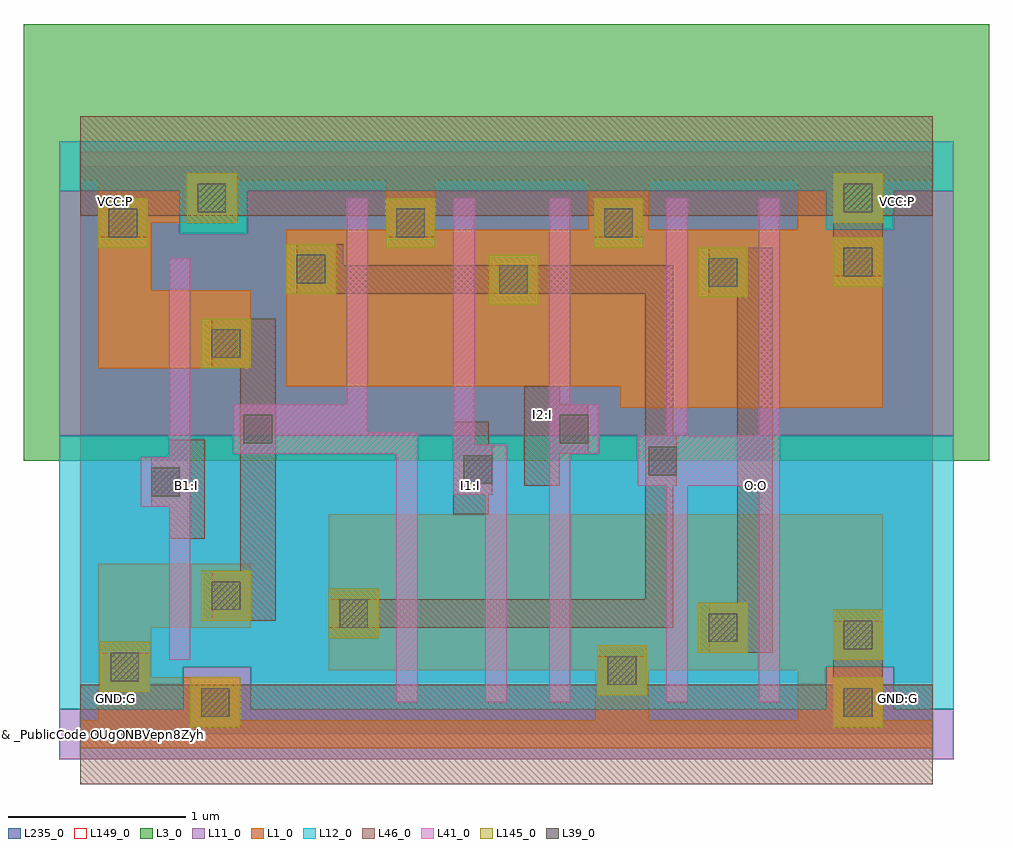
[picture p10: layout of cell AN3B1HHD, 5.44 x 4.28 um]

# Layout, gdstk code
from math import pi, radians
import gdstk
lib = gdstk.Library(unit=1e-6, precision=1e-09)
def R(c, l, rs):  # rectangles x0, y0, x1, y1
    for r in rs: c.add(gdstk.rectangle(r[:2], r[2:], *l))
def P(c, l, *ps):  # polygons
    for p in ps: c.add(gdstk.Polygon(p, *l))
L1_0 = (1, 0)
L3_0 = (3, 0)
L11_0 = (11, 0)
L12_0 = (12, 0)
L39_0 = (39, 0)
L41_0 = (41, 0)
L46_0 = (46, 0)
L145_0 = (145, 0)
L149_0 = (149, 0)
L235_0 = (235, 0)

c_pc = lib.new_cell('PC')
R(c_pc, L39_0, [(-0.08,-0.08,0.08,0.08)])
R(c_pc, L41_0, [(-0.14,-0.14,0.14,0.14)])
R(c_pc, L46_0, [(-0.08,-0.14,0.08,0.14)])

c_mc = lib.new_cell('MC')
R(c_mc, L39_0, [(-0.08,-0.08,0.08,0.08)])
R(c_mc, L46_0, [(-0.08,-0.14,0.08,0.14)])
R(c_mc, L145_0, [(-0.14,-0.14,0.14,0.14)])

jhlenmmjmgj__41gum4xw0 = lib.new_cell('JHLENMMJMGJ$$41Gum4XW0')
R(jhlenmmjmgj__41gum4xw0, L1_0, [(0,-0.08,4.8,0.08), (0.4,0.08,0.9,0.32), (1.4,0.36,2.9,1.24), (1.16,1.96,1.72,2.84), (0.4,2.88,0.88,3.12), (0,3.12,4.8,3.28)])
P(jhlenmmjmgj__41gum4xw0, L1_0, [(0.96,0.96),(0.1,0.96),(0.1,0.08),(0.4,0.08),(0.4,0.6),(0.96,0.6)],
  [(0.4,3.12),(0.1,3.12),(0.1,2.06),(0.96,2.06),(0.96,2.5),(0.4,2.5)],
  [(4.52,3.12),(4.04,3.12),(4.04,2.84),(3.2,2.84),(3.2,3.12),(2.86,3.12),(2.86,2.84),(2,2.84),(2,3.12),(1.72,3.12),(1.72,1.96),(3.04,1.96),(3.04,1.84),(4.52,1.84)],
  [(4.52,1.24),(2.9,1.24),(2.9,0.08),(3.2,0.08),(3.2,0.36),(4.04,0.36),(4.04,0.08),(4.52,0.08)])
R(jhlenmmjmgj__41gum4xw0, L3_0, [(-0.32,1.54,5.12,4)])
R(jhlenmmjmgj__41gum4xw0, L11_0, [(-0.12,-0.14,4.92,0.14), (-0.12,-0.14,4.92,0.14), (0.58,0.14,0.96,0.38), (4.2,0.14,4.58,0.38)])
P(jhlenmmjmgj__41gum4xw0, L11_0, [(4.92,3.06),(4.58,3.06),(4.58,2.84),(4.2,2.84),(4.2,3.06),(0.94,3.06),(0.94,2.82),(0.56,2.82),(0.56,3.06),(-0.12,3.06),(-0.12,1.68),(4.92,1.68)])
P(jhlenmmjmgj__41gum4xw0, L12_0, [(4.92,3.34),(-0.12,3.34),(-0.12,3.06),(0.56,3.06),(0.56,2.82),(0.94,2.82),(0.94,3.06),(4.2,3.06),(4.2,2.84),(4.58,2.84),(4.58,3.06),(4.92,3.06)],
  [(4.92,1.68),(-0.12,1.68),(-0.12,0.14),(0.58,0.14),(0.58,0.38),(0.96,0.38),(0.96,0.14),(4.2,0.14),(4.2,0.38),(4.58,0.38),(4.58,0.14),(4.92,0.14)])
R(jhlenmmjmgj__41gum4xw0, L41_0, [(3.3,1.4,3.94,1.68), (0.86,1.58,1.62,1.86)])
R(jhlenmmjmgj__41gum4xw0, L46_0, [(0.11,0.28,0.39,0.46), (4.24,0.28,4.52,0.64), (1.22,2.48,1.48,2.76), (4.24,2.58,4.52,2.92)])
R(jhlenmmjmgj__41gum4xw0, L149_0, [(0,0,4.8,3.2)])
R(jhlenmmjmgj__41gum4xw0, L235_0, [(0,0,4.8,3.2), (0,0,4.8,3.2), (0,0,4.8,3.2), (0,0,4.8,3.2), (0,0,4.8,3.2), (0,0,4.8,3.2), (0,0,4.8,3.2), (0,0,4.8,3.2), (0,0,4.8,3.2), (0,0,4.8,3.2), (0,0,4.8,3.2), (0,0,4.8,3.2)])
jhlenmmjmgj__41gum4xw0.add(gdstk.FlexPath([(0.6,1.1),(0.6,1.66)], 0.2, ends="flush", simple_path=True, layer=46, datatype=0))  # L46_0
jhlenmmjmgj__41gum4xw0.add(gdstk.FlexPath([(0,0),(4.8,0)], 0.56, ends="flush", simple_path=True, layer=46, datatype=0))  # L46_0
jhlenmmjmgj__41gum4xw0.add(gdstk.FlexPath([(0,3.2),(4.8,3.2)], 0.56, ends="flush", simple_path=True, layer=46, datatype=0))  # L46_0
jhlenmmjmgj__41gum4xw0.add(gdstk.FlexPath([(1,0.64),(1,2.34)], 0.2, ends="flush", simple_path=True, layer=46, datatype=0))  # L46_0
jhlenmmjmgj__41gum4xw0.add(gdstk.FlexPath([(2.6,1.4),(2.6,1.96)], 0.2, ends="flush", simple_path=True, layer=46, datatype=0))  # L46_0
jhlenmmjmgj__41gum4xw0.add(gdstk.FlexPath([(2.2,1.24),(2.2,1.76)], 0.2, ends="flush", simple_path=True, layer=46, datatype=0))  # L46_0
jhlenmmjmgj__41gum4xw0.add(gdstk.FlexPath([(3.8,0.46),(3.8,2.74)], 0.2, ends="flush", simple_path=True, layer=46, datatype=0))  # L46_0
jhlenmmjmgj__41gum4xw0.add(gdstk.FlexPath([(1.22,2.56),(3.26,2.56),(3.26,0.68),(1.4,0.68)], 0.16, ends="flush", simple_path=True, layer=46, datatype=0))  # L46_0
jhlenmmjmgj__41gum4xw0.add(gdstk.FlexPath([(0.2,0),(0.2,3.2)], 0, ends="flush", simple_path=True, layer=145, datatype=0))  # L145_0
jhlenmmjmgj__41gum4xw0.add(gdstk.FlexPath([(0.6,0),(0.6,3.2)], 0, ends="flush", simple_path=True, layer=145, datatype=0))  # L145_0
jhlenmmjmgj__41gum4xw0.add(gdstk.FlexPath([(1,0),(1,3.2)], 0, ends="flush", simple_path=True, layer=145, datatype=0))  # L145_0
jhlenmmjmgj__41gum4xw0.add(gdstk.FlexPath([(1.4,0),(1.4,3.2)], 0, ends="flush", simple_path=True, layer=145, datatype=0))  # L145_0
jhlenmmjmgj__41gum4xw0.add(gdstk.FlexPath([(1.8,0),(1.8,3.2)], 0, ends="flush", simple_path=True, layer=145, datatype=0))  # L145_0
jhlenmmjmgj__41gum4xw0.add(gdstk.FlexPath([(2.2,0),(2.2,3.2)], 0, ends="flush", simple_path=True, layer=145, datatype=0))  # L145_0
jhlenmmjmgj__41gum4xw0.add(gdstk.FlexPath([(2.6,0),(2.6,3.2)], 0, ends="flush", simple_path=True, layer=145, datatype=0))  # L145_0
jhlenmmjmgj__41gum4xw0.add(gdstk.FlexPath([(3,0),(3,3.2)], 0, ends="flush", simple_path=True, layer=145, datatype=0))  # L145_0
jhlenmmjmgj__41gum4xw0.add(gdstk.FlexPath([(3.4,0),(3.4,3.2)], 0, ends="flush", simple_path=True, layer=145, datatype=0))  # L145_0
jhlenmmjmgj__41gum4xw0.add(gdstk.FlexPath([(3.8,0),(3.8,3.2)], 0, ends="flush", simple_path=True, layer=145, datatype=0))  # L145_0
jhlenmmjmgj__41gum4xw0.add(gdstk.FlexPath([(0,3),(4.8,3)], 0, ends="flush", simple_path=True, layer=145, datatype=0))  # L145_0
jhlenmmjmgj__41gum4xw0.add(gdstk.FlexPath([(4.2,0),(4.2,3.2)], 0, ends="flush", simple_path=True, layer=145, datatype=0))  # L145_0
jhlenmmjmgj__41gum4xw0.add(gdstk.FlexPath([(4.6,0),(4.6,3.2)], 0, ends="flush", simple_path=True, layer=145, datatype=0))  # L145_0
jhlenmmjmgj__41gum4xw0.add(gdstk.FlexPath([(0,0.2),(4.8,0.2)], 0, ends="flush", simple_path=True, layer=145, datatype=0))  # L145_0
jhlenmmjmgj__41gum4xw0.add(gdstk.FlexPath([(0,0.6),(4.8,0.6)], 0, ends="flush", simple_path=True, layer=145, datatype=0))  # L145_0
jhlenmmjmgj__41gum4xw0.add(gdstk.FlexPath([(0,1),(4.8,1)], 0, ends="flush", simple_path=True, layer=145, datatype=0))  # L145_0
jhlenmmjmgj__41gum4xw0.add(gdstk.FlexPath([(0,1.4),(4.8,1.4)], 0, ends="flush", simple_path=True, layer=145, datatype=0))  # L145_0
jhlenmmjmgj__41gum4xw0.add(gdstk.FlexPath([(0,1.8),(4.8,1.8)], 0, ends="flush", simple_path=True, layer=145, datatype=0))  # L145_0
jhlenmmjmgj__41gum4xw0.add(gdstk.FlexPath([(0,2.6),(4.8,2.6)], 0, ends="flush", simple_path=True, layer=145, datatype=0))  # L145_0
jhlenmmjmgj__41gum4xw0.add(gdstk.FlexPath([(0,2.2),(4.8,2.2)], 0, ends="flush", simple_path=True, layer=145, datatype=0))  # L145_0
jhlenmmjmgj__41gum4xw0.add(gdstk.FlexPath([(2.7,0.18),(2.7,3.02)], 0.12, ends="flush", simple_path=True, layer=41, datatype=0))  # L41_0
jhlenmmjmgj__41gum4xw0.add(gdstk.FlexPath([(0.56,0.42),(0.56,2.68)], 0.12, ends="flush", simple_path=True, layer=41, datatype=0))  # L41_0
jhlenmmjmgj__41gum4xw0.add(gdstk.FlexPath([(2.16,3.02),(2.16,1.57),(2.34,1.57),(2.34,0.18)], 0.12, ends="flush", simple_path=True, layer=41, datatype=0))  # L41_0
jhlenmmjmgj__41gum4xw0.add(gdstk.FlexPath([(3.88,0.18),(3.88,3.02)], 0.12, ends="flush", simple_path=True, layer=41, datatype=0))  # L41_0
jhlenmmjmgj__41gum4xw0.add(gdstk.FlexPath([(1.56,3.02),(1.56,1.64),(1.84,1.64),(1.84,0.18)], 0.12, ends="flush", simple_path=True, layer=41, datatype=0))  # L41_0
jhlenmmjmgj__41gum4xw0.add(gdstk.FlexPath([(3.36,0.18),(3.36,3.02)], 0.12, ends="flush", simple_path=True, layer=41, datatype=0))  # L41_0
r = gdstk.Reference(c_pc, (2.24,1.49)); r.repetition = gdstk.Repetition(1, 1, v1=(0.28,0), v2=(0,0.32)); jhlenmmjmgj__41gum4xw0.add(r)
r = gdstk.Reference(c_pc, (3.28,1.54)); r.repetition = gdstk.Repetition(1, 1, v1=(0.28,0), v2=(0,0.32)); jhlenmmjmgj__41gum4xw0.add(r)
r = gdstk.Reference(c_pc, (1,1.72)); r.repetition = gdstk.Repetition(1, 1, v1=(0.28,0), v2=(0,0.32)); jhlenmmjmgj__41gum4xw0.add(r)
r = gdstk.Reference(c_pc, (0.48,1.42)); r.repetition = gdstk.Repetition(1, 1, v1=(0.28,0), v2=(0,0.32)); jhlenmmjmgj__41gum4xw0.add(r)
r = gdstk.Reference(c_pc, (2.78,1.72)); r.repetition = gdstk.Repetition(1, 1, v1=(0.28,0), v2=(0,0.32)); jhlenmmjmgj__41gum4xw0.add(r)
r = gdstk.Reference(c_mc, (4.38,3.02), rotation=pi/2); r.repetition = gdstk.Repetition(1, 1, v1=(0,0.28), v2=(-0.32,0)); jhlenmmjmgj__41gum4xw0.add(r)
r = gdstk.Reference(c_mc, (3.62,2.6)); r.repetition = gdstk.Repetition(1, 1, v1=(0.28,0), v2=(0,0.32)); jhlenmmjmgj__41gum4xw0.add(r)
r = gdstk.Reference(c_mc, (3.03,2.88), rotation=pi/2); r.repetition = gdstk.Repetition(1, 1, v1=(0,0.28), v2=(-0.32,0)); jhlenmmjmgj__41gum4xw0.add(r)
r = gdstk.Reference(c_mc, (1.54,0.68), rotation=pi/2); r.repetition = gdstk.Repetition(1, 1, v1=(0,0.28), v2=(-0.32,0)); jhlenmmjmgj__41gum4xw0.add(r)
r = gdstk.Reference(c_mc, (3.62,0.6)); r.repetition = gdstk.Repetition(1, 1, v1=(0.28,0), v2=(0,0.32)); jhlenmmjmgj__41gum4xw0.add(r)
r = gdstk.Reference(c_mc, (4.38,0.18), rotation=pi/2); r.repetition = gdstk.Repetition(1, 1, v1=(0,0.28), v2=(-0.32,0)); jhlenmmjmgj__41gum4xw0.add(r)
r = gdstk.Reference(c_mc, (3.05,0.36), rotation=pi/2); r.repetition = gdstk.Repetition(1, 1, v1=(0,0.28), v2=(-0.32,0)); jhlenmmjmgj__41gum4xw0.add(r)
r = gdstk.Reference(c_mc, (4.38,0.56), rotation=pi/2); r.repetition = gdstk.Repetition(1, 1, v1=(0,0.28), v2=(-0.32,0)); jhlenmmjmgj__41gum4xw0.add(r)
r = gdstk.Reference(c_mc, (4.38,2.66), rotation=pi/2); r.repetition = gdstk.Repetition(1, 1, v1=(0,0.28), v2=(-0.32,0)); jhlenmmjmgj__41gum4xw0.add(r)
r = gdstk.Reference(c_mc, (1.86,2.88), rotation=pi/2); r.repetition = gdstk.Repetition(1, 1, v1=(0,0.28), v2=(-0.32,0)); jhlenmmjmgj__41gum4xw0.add(r)
r = gdstk.Reference(c_mc, (0.82,0.78)); r.repetition = gdstk.Repetition(1, 1, v1=(0.28,0), v2=(0,0.32)); jhlenmmjmgj__41gum4xw0.add(r)
r = gdstk.Reference(c_mc, (0.82,2.2)); r.repetition = gdstk.Repetition(1, 1, v1=(0.28,0), v2=(0,0.32)); jhlenmmjmgj__41gum4xw0.add(r)
r = gdstk.Reference(c_mc, (0.24,2.88), rotation=pi/2); r.repetition = gdstk.Repetition(1, 1, v1=(0,0.28), v2=(-0.32,0)); jhlenmmjmgj__41gum4xw0.add(r)
r = gdstk.Reference(c_mc, (0.25,0.38), rotation=pi/2); r.repetition = gdstk.Repetition(1, 1, v1=(0,0.28), v2=(-0.32,0)); jhlenmmjmgj__41gum4xw0.add(r)
r = gdstk.Reference(c_mc, (0.76,0.18), rotation=pi/2); r.repetition = gdstk.Repetition(1, 1, v1=(0,0.28), v2=(-0.32,0)); jhlenmmjmgj__41gum4xw0.add(r)
r = gdstk.Reference(c_mc, (0.74,3.02), rotation=pi/2); r.repetition = gdstk.Repetition(1, 1, v1=(0,0.28), v2=(-0.32,0)); jhlenmmjmgj__41gum4xw0.add(r)
r = gdstk.Reference(c_mc, (2.44,2.56), rotation=pi/2); r.repetition = gdstk.Repetition(1, 1, v1=(0,0.28), v2=(-0.32,0)); jhlenmmjmgj__41gum4xw0.add(r)
r = gdstk.Reference(c_mc, (1.3,2.62)); r.repetition = gdstk.Repetition(1, 1, v1=(0.28,0), v2=(0,0.32)); jhlenmmjmgj__41gum4xw0.add(r)
jhlenmmjmgj__41gum4xw0.add(gdstk.Label('#Id:7JQJaQKD4XF6RXVVFbbMNLABMd92ZLRaK99JL0406EKC574D4A3EOSP8MXXWHY99T6WBH22210RAL9', (0.02,0.02), layer=147, texttype=0))
jhlenmmjmgj__41gum4xw0.add(gdstk.Label('AN3B1HHD', (0,0), layer=144, texttype=0))
jhlenmmjmgj__41gum4xw0.add(gdstk.Label('GND:G', (0.2,0.2), layer=101, texttype=0))
jhlenmmjmgj__41gum4xw0.add(gdstk.Label('VCC:P', (0.2,3), layer=101, texttype=0))
jhlenmmjmgj__41gum4xw0.add(gdstk.Label('VCC:P', (4.6,3), layer=101, texttype=0))
jhlenmmjmgj__41gum4xw0.add(gdstk.Label('GND:G', (4.6,0.2), layer=101, texttype=0))
jhlenmmjmgj__41gum4xw0.add(gdstk.Label('B1:I', (0.6,1.4), layer=101, texttype=0))
jhlenmmjmgj__41gum4xw0.add(gdstk.Label('O:O', (3.8,1.4), layer=101, texttype=0))
jhlenmmjmgj__41gum4xw0.add(gdstk.Label('I2:I', (2.6,1.8), layer=101, texttype=0))
jhlenmmjmgj__41gum4xw0.add(gdstk.Label('I1:I', (2.2,1.4), layer=101, texttype=0))

an3b1hhd = lib.new_cell('AN3B1HHD')
R(an3b1hhd, L149_0, [(0,0,4.8,3.2)])
an3b1hhd.add(gdstk.Reference(jhlenmmjmgj__41gum4xw0, (0,0)))
an3b1hhd.add(gdstk.Label('& _PublicCode OUgONBVepn8Zyhuhb7nzKSFGv0ozQ4p7', (0,0), layer=3, texttype=0))
an3b1hhd.add(gdstk.Label('& Metric 15.36', (0,0), layer=3, texttype=0))
an3b1hhd.add(gdstk.Label('& Version 2009Q1V3.0', (0,0), layer=3, texttype=0))
an3b1hhd.add(gdstk.Label('& Product FSC0H_D_GENERIC_CORE', (0,0), layer=3, texttype=0))
an3b1hhd.add(gdstk.Label('& Vendor Faraday_Technology_Corp.', (0,0), layer=3, texttype=0))
an3b1hhd.add(gdstk.Label('#Id:7JQJaQKD4XF6RXVVFbbMNLABMd92ZLRaK99JL0406EKC574D4A3EOSP8MXXWHY99T6WBH22210RAL9', (0.02,0.02), layer=147, texttype=0))
an3b1hhd.add(gdstk.Label('AN3B1HHD', (0,0), layer=144, texttype=0))
an3b1hhd.add(gdstk.Label('GND:G', (0.2,0.2), layer=101, texttype=0))
an3b1hhd.add(gdstk.Label('VCC:P', (0.2,3), layer=101, texttype=0))
an3b1hhd.add(gdstk.Label('VCC:P', (4.6,3), layer=101, texttype=0))
an3b1hhd.add(gdstk.Label('GND:G', (4.6,0.2), layer=101, texttype=0))
an3b1hhd.add(gdstk.Label('B1:I', (0.6,1.4), layer=101, texttype=0))
an3b1hhd.add(gdstk.Label('O:O', (3.8,1.4), layer=101, texttype=0))
an3b1hhd.add(gdstk.Label('I2:I', (2.6,1.8), layer=101, texttype=0))
an3b1hhd.add(gdstk.Label('I1:I', (2.2,1.4), layer=101, texttype=0))

lib.write_gds('AN3B1HHD.gds')
